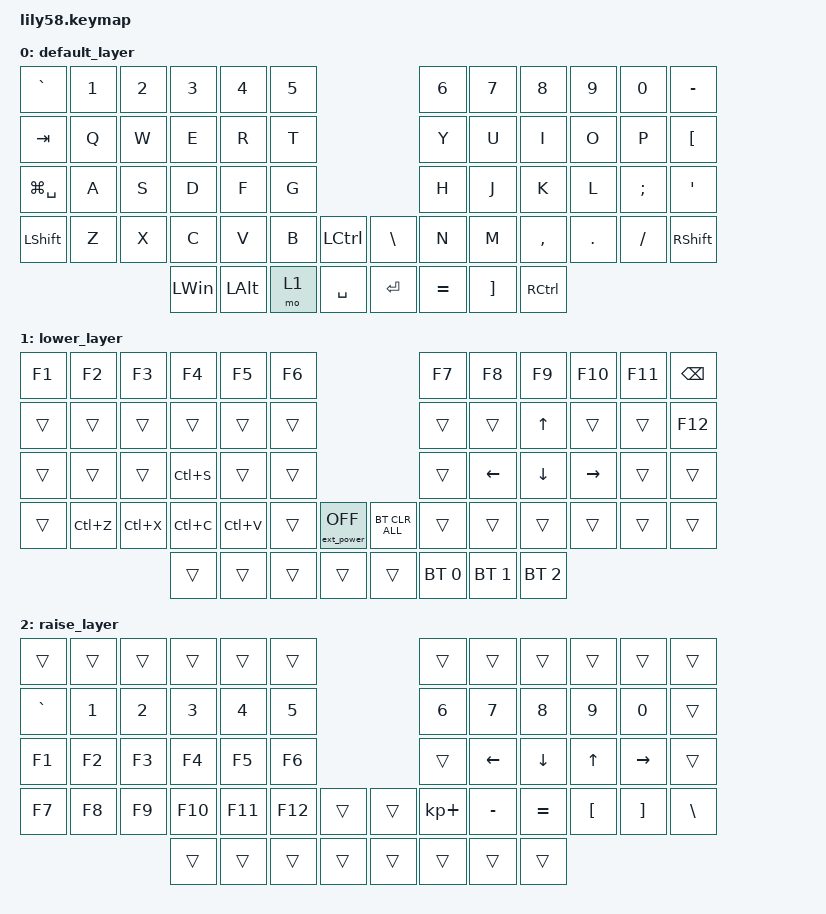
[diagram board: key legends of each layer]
/*
 * Copyright (c) 2020 The ZMK Contributors
 *
 * SPDX-License-Identifier: MIT
 */

#include <behaviors.dtsi>
#include <dt-bindings/zmk/bt.h>
#include <dt-bindings/zmk/ext_power.h>
#include <dt-bindings/zmk/keys.h>

/ {
    combos {
        compatible = "zmk,combos";

        combo_esc {
            timeout-ms = <50>;
            key-positions = <0 1>;
            bindings = <&kp ESC>;
        };

        left_brace {
            bindings = <&kp LEFT_PARENTHESIS>;
            key-positions = <16 15>;
        };

        right_brace {
            bindings = <&kp RIGHT_PARENTHESIS>;
            key-positions = <19 20>;
        };

        left_bracket {
            bindings = <&kp LEFT_BRACE>;
            key-positions = <4 3>;
        };

        right_bracket {
            bindings = <&kp RIGHT_BRACE>;
            key-positions = <7 8>;
        };
    };

    behaviors {
        ss_hs_modmorph: ss_hs_modmorph {
            compatible = "zmk,behavior-mod-morph";
            label = "SS_HS_MODMORPH";
            bindings = <&kp M>, <&kp RIGHT_BRACKET>;

            #binding-cells = <0>;
            mods = <(MOD_LSFT|MOD_RSFT)>;
        };

        kh_hs_tapdance: kh_hs_tapdance {
            compatible = "zmk,behavior-tap-dance";
            label = "KH_HS_TAPDANCE";
            #binding-cells = <0>;
            tapping-term-ms = <200>;
            bindings = <&kp LEFT_BRACKET>, <&kp RIGHT_BRACKET>;
        };

        hrm: hrm {
            compatible = "zmk,behavior-hold-tap";
            #binding-cells = <2>;
            flavor = "tap-preferred";
            tapping-term-ms = <200>;
            quick-tap-ms = <200>;
            require-prior-idle-ms = <125>;
            bindings = <&kp>, <&kp>;
        };
    };

    keymap {
        compatible = "zmk,keymap";

        default_layer {
            // ------------------------------------------------------------------------------------------------------------
            // |  ESC  |  1  |  2  |  3   |  4   |  5   |                   |  6   |  7    |  8    |  9   |   0   |   `   |
            // |  TAB  |  Q  |  W  |  E   |  R   |  T   |                   |  Y   |  U    |  I    |  O   |   P   |   -   |
            // |  CTRL |  A  |  S  |  D   |  F   |  G   |                   |  H   |  J    |  K    |  L   |   ;   |   '   |
            // | SHIFT |  Z  |  X  |  C   |  V   |  B   |   "["  |  |  "]"  |  N   |  M    |  ,    |  .   |   /   | SHIFT |
            //                     | ALT  | GUI  | LOWER|  SPACE |  | ENTER | RAISE| BSPC  | GUI   |

            bindings = <
&kp GRAVE      &kp N1  &kp N2  &kp N3        &kp N4        &kp N5                                     &kp N6     &kp N7             &kp N8             &kp N9   &kp N0    &kp MINUS
&kp TAB        &kp Q   &kp W   &kp E         &kp R         &kp T                                      &kp Y      &kp U              &kp I              &kp O    &kp P     &kp LEFT_BRACKET
&kp LG(SPACE)  &kp A   &kp S   &kp D         &kp F         &kp G                                      &kp H      &kp J              &kp K              &kp L    &kp SEMI  &kp SQT
&kp LSHFT      &kp Z   &kp X   &kp C         &kp V         &kp B   &kp LEFT_CONTROL    &kp BACKSLASH  &kp N      &kp M              &kp COMMA          &kp DOT  &kp FSLH  &kp RIGHT_SHIFT
                               &kp LEFT_WIN  &kp LEFT_ALT  &mo 1   &kp SPACE           &kp ENTER      &kp EQUAL  &kp RIGHT_BRACKET  &kp RIGHT_CONTROL
            >;
        };

        lower_layer {
            // ------------------------------------------------------------------------------------------------------------
            // | BTCLR | BT1 | BT2 |  BT3 |  BT4 |  BT5 |                   |      |       |       |      |       |       |
            // |  F1   |  F2 |  F3 |  F4  |  F5  |  F6  |                   |  F7  |  F8   |  F9   |  F10 |  F11  |  F12  |
            // |   `   |  !  |  @  |  #   |  $   |  %   |                   |  ^   |  &    |  *    |  (   |   )   |   ~   |
            // |       |     |     |      |      |      |        |  |       |      |  _    |  +    |  {   |   }   |  "|"  |
            //                     |      |      |      |        |  |       |      |       |       |

            bindings = <
&kp F1  &kp F2     &kp F3     &kp F4     &kp F5     &kp F6                                       &kp F7        &kp F8        &kp F9        &kp F10    &kp F11  &kp BACKSPACE
&trans  &trans     &trans     &trans     &trans     &trans                                       &trans        &trans        &kp UP_ARROW  &trans     &trans   &kp F12
&trans  &trans     &trans     &kp LC(S)  &trans     &trans                                       &trans        &kp LEFT      &kp DOWN      &kp RIGHT  &trans   &trans
&trans  &kp LC(Z)  &kp LC(X)  &kp LC(C)  &kp LC(V)  &trans  &ext_power EP_OFF    &bt BT_CLR_ALL  &trans        &trans        &trans        &trans     &trans   &trans
                              &trans     &trans     &trans  &trans               &trans          &bt BT_SEL 0  &bt BT_SEL 1  &bt BT_SEL 2
            >;
        };

        raise_layer {
            // ------------------------------------------------------------------------------------------------------------
            // |       |     |     |      |      |      |                   |      |       |       |      |       |       |
            // |   `   |  1  |  2  |  3   |  4   |  5   |                   |  6   |   7   |   8   |  9   |   0   |       |
            // |   F1  |  F2 |  F3 |  F4  |  F5  |  F6  |                   |      |   <-  |   v   |  ^   |  ->   |       |
            // |   F7  |  F8 |  F9 |  F10 |  F11 |  F12 |        |  |       |  +   |   -   |   =   |  [   |   ]   |   \   |
            //                     |      |      |      |        |  |       |      |       |       |

            bindings = <
&trans     &trans  &trans  &trans   &trans   &trans                     &trans       &trans     &trans     &trans    &trans     &trans
&kp GRAVE  &kp N1  &kp N2  &kp N3   &kp N4   &kp N5                     &kp N6       &kp N7     &kp N8     &kp N9    &kp N0     &trans
&kp F1     &kp F2  &kp F3  &kp F4   &kp F5   &kp F6                     &trans       &kp LEFT   &kp DOWN   &kp UP    &kp RIGHT  &trans
&kp F7     &kp F8  &kp F9  &kp F10  &kp F11  &kp F12  &trans    &trans  &kp KP_PLUS  &kp MINUS  &kp EQUAL  &kp LBKT  &kp RBKT   &kp BSLH
                           &trans   &trans   &trans   &trans    &trans  &trans       &trans     &trans
            >;
        };
    };
};
